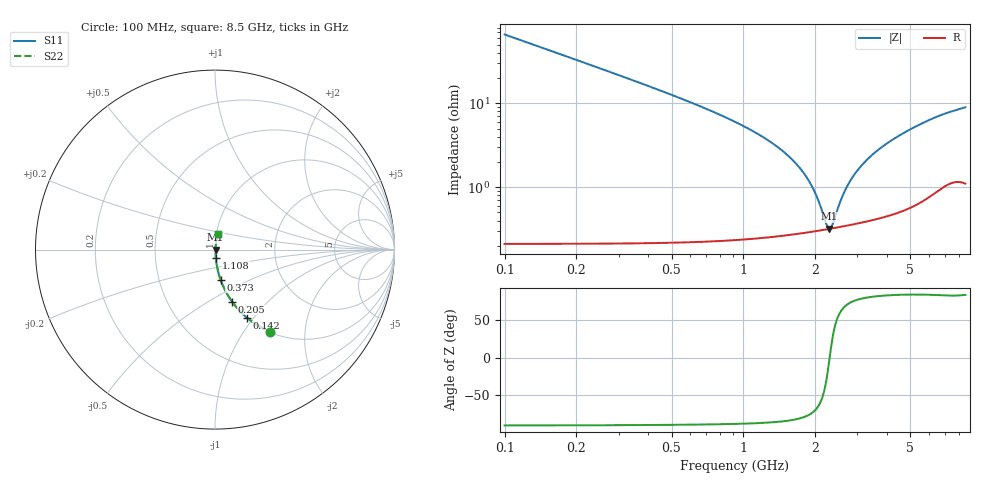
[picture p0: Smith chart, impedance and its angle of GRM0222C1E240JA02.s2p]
!Murata Part Number: GRM0222C1E240JA02
!These Parameters are Measured in Series Mode Connection
!Data Generated on Mar 30, 2021
!  o--ll--o
!Port1  Port2
!  o------o
!Operation Temp=25[degC], DC Bias Voltage=0[V]
!Freq. Start=100[MHz] Stop=9[GHz] 401[Steps]
# Hz S RI R 50
!Freq.(Hz) S11(Real) S11(Imag) S21(Real) S21(Imag) S12(Real) S12(Imag) S22(Real) S22(Imag)
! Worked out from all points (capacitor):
!   401 points, 100 MHz to 8.5 GHz, reference 50 ohm
!   read as one part in series: C = 24 pF near 142 MHz
!   lowest |Z| = 319 mohm at 2.284 GHz (marker M1)
!   series resonance near 2.297 GHz, so ESL is about 200 pH
!   S11 on the Smith chart (normalised r, x): 100 MHz: 1.00, -1.32; 142 MHz: 1.00, -0.93; 205 MHz: 1.00, -0.64; 373 MHz: 1.00, -0.35; 1.108 GHz: 1.00, -0.09; 8.5 GHz: 1.02, +0.18
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1e8  0.3052 -0.4589  0.6948 0.4589  0.6948 0.4589  0.3052 -0.4589
1.42e8  0.179 -0.3811  0.821 0.3811  0.821 0.3811  0.179 -0.3811
2.05e8  0.0949 -0.2898  0.9051 0.2898  0.9051 0.2898  0.0949 -0.2898
3.73e8  0.031 -0.1673  0.969 0.1673  0.969 0.1673  0.031 -0.1673
6.46e8  0.011 -0.0931  0.989 0.0931  0.989 0.0931  0.011 -0.0931
1.108e9  0.0045 -0.0454  0.9955 0.0454  0.9955 0.0454  0.0045 -0.0454
1.507e9  0.00327 -0.0247  0.9967 0.0247  0.9967 0.0247  0.00327 -0.0247
1.738e9  0.00306 -0.0161  0.9969 0.0161  0.9969 0.0161  0.00306 -0.0161
1.906e9  0.00303 -0.0107  0.997 0.0107  0.997 0.0107  0.00303 -0.0107
2.053e9  0.00305 -0.00638  0.9969 0.00638  0.9969 0.00638  0.00305 -0.00638
2.221e9  0.00313 -0.0019  0.9969 0.0019  0.9969 0.0019  0.00313 -0.0019
2.284e9  0.00317 -0.000311  0.9968 0.000311  0.9968 0.000311  0.00317 -0.000311
2.347e9  0.00321 0.00123  0.9968 -0.00123  0.9968 -0.00123  0.00321 0.00123
2.536e9  0.00337 0.00562  0.9966 -0.00562  0.9966 -0.00562  0.00337 0.00562
2.641e9  0.00348 0.00793  0.9965 -0.00793  0.9965 -0.00793  0.00348 0.00793
2.914e9  0.0038 0.0136  0.9962 -0.0136  0.9962 -0.0136  0.0038 0.0136
3.166e9  0.00414 0.0184  0.9959 -0.0184  0.9959 -0.0184  0.00414 0.0184
3.481e9  0.00462 0.0241  0.9954 -0.0241  0.9954 -0.0241  0.00462 0.0241
4.3e9  0.00619 0.0375  0.9938 -0.0375  0.9938 -0.0375  0.00619 0.0375
5.707e9  0.0103 0.0578  0.9897 -0.0578  0.9897 -0.0578  0.0103 0.0578
7.114e9  0.016 0.074  0.984 -0.074  0.984 -0.074  0.016 0.074
8.5e9  0.0185 0.0865  0.9815 -0.0865  0.9815 -0.0865  0.0185 0.0865
